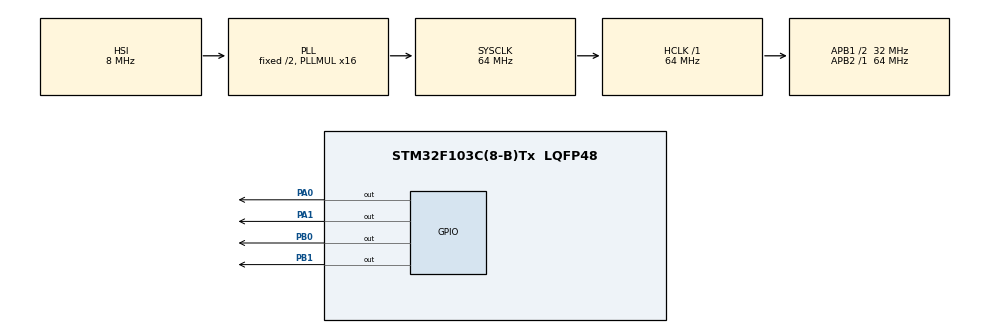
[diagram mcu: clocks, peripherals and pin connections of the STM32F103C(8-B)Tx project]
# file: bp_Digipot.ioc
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Mcu.Family=STM32F1
Mcu.Name=STM32F103C(8-B)Tx
Mcu.Package=LQFP48
NVIC.PriorityGroup=NVIC_PRIORITYGROUP_4
NVIC.TIM2_IRQn=true\:0\:0\:false\:false\:true\:true
PA0-WKUP.PinState=GPIO_PIN_SET
PA0-WKUP.Signal=GPIO_Output
PA1.Signal=GPIO_Output
PA13.Mode=Serial_Wire
PA13.Signal=SYS_JTMS-SWDIO
PA14.Mode=Serial_Wire
PA14.Signal=SYS_JTCK-SWCLK
PB0.PinState=GPIO_PIN_SET
PB0.Signal=GPIO_Output
PB1.Signal=GPIO_Output
ProjectManager.HeapSize=0x200
ProjectManager.StackSize=0x400
ProjectManager.TargetToolchain=TrueSTUDIO
RCC.AHBFreq_Value=64000000
RCC.APB1CLKDivider=RCC_HCLK_DIV2
RCC.APB1Freq_Value=32000000
RCC.APB1TimFreq_Value=64000000
RCC.APB2Freq_Value=64000000
RCC.APB2TimFreq_Value=64000000
RCC.HCLKFreq_Value=64000000
RCC.PLLMUL=RCC_PLL_MUL16
RCC.SYSCLKFreq_VALUE=64000000
RCC.SYSCLKSource=RCC_SYSCLKSOURCE_PLLCLK
RCC.USBFreq_Value=64000000
TIM2.Period=9
TIM2.Prescaler=31
VP_TIM2_VS_ClockSourceINT.Mode=Internal
board=custom

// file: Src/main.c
/* USER CODE BEGIN Header */
/**
  ******************************************************************************
  * @file           : main.c
  * @brief          : Main program body
  ******************************************************************************
  ** This notice applies to any and all portions of this file
  * that are not between comment pairs USER CODE BEGIN and
  * USER CODE END. Other portions of this file, whether
  * inserted by the user or by software development tools
  * are owned by their respective copyright owners.
  *
  * COPYRIGHT(c) 2019 STMicroelectronics
  *
  * Redistribution and use in source and binary forms, with or without modification,
  * are permitted provided that the following conditions are met:
  *   1. Redistributions of source code must retain the above copyright notice,
  *      this list of conditions and the following disclaimer.
  *   2. Redistributions in binary form must reproduce the above copyright notice,
  *      this list of conditions and the following disclaimer in the documentation
  *      and/or other materials provided with the distribution.
  *   3. Neither the name of STMicroelectronics nor the names of its contributors
  *      may be used to endorse or promote products derived from this software
  *      without specific prior written permission.
  *
  * THIS SOFTWARE IS PROVIDED BY THE COPYRIGHT HOLDERS AND CONTRIBUTORS "AS IS"
  * AND ANY EXPRESS OR IMPLIED WARRANTIES, INCLUDING, BUT NOT LIMITED TO, THE
  * IMPLIED WARRANTIES OF MERCHANTABILITY AND FITNESS FOR A PARTICULAR PURPOSE ARE
  * DISCLAIMED. IN NO EVENT SHALL THE COPYRIGHT HOLDER OR CONTRIBUTORS BE LIABLE
  * FOR ANY DIRECT, INDIRECT, INCIDENTAL, SPECIAL, EXEMPLARY, OR CONSEQUENTIAL
  * DAMAGES (INCLUDING, BUT NOT LIMITED TO, PROCUREMENT OF SUBSTITUTE GOODS OR
  * SERVICES; LOSS OF USE, DATA, OR PROFITS; OR BUSINESS INTERRUPTION) HOWEVER
  * CAUSED AND ON ANY THEORY OF LIABILITY, WHETHER IN CONTRACT, STRICT LIABILITY,
  * OR TORT (INCLUDING NEGLIGENCE OR OTHERWISE) ARISING IN ANY WAY OUT OF THE USE
  * OF THIS SOFTWARE, EVEN IF ADVISED OF THE POSSIBILITY OF SUCH DAMAGE.
  *
  ******************************************************************************
  */
/* USER CODE END Header */

#include "main.h"

TIM_HandleTypeDef htim2;

/* USER CODE BEGIN PV */
uint8_t cuenta = 0;
int steps = 0;
/* USER CODE END PV */

void SystemClock_Config(void);
static void MX_GPIO_Init(void);
static void MX_TIM2_Init(void);
/* USER CODE BEGIN PFP */
void init_resistencia();
void resistencia(uint8_t valor);
/* USER CODE END PFP */

int main(void)
{

  /* MCU Configuration--------------------------------------------------------*/

  /* Reset of all peripherals, Initializes the Flash interface and the Systick. */
  HAL_Init();

  /* Configure the system clock */
  SystemClock_Config();

  /* Initialize all configured peripherals */
  MX_GPIO_Init();
  MX_TIM2_Init();
  /* USER CODE BEGIN 2 */
  init_resistencia();
  HAL_Delay(2000);
  resistencia(47);
//  HAL_Delay(5000);
//  resistencia(100);
//  HAL_Delay(5000);
//  resistencia(20);
//  HAL_Delay(5000);
//  resistencia(100);
//  HAL_GPIO_WritePin(GPIOA,GPIO_PIN_1, 1);
  /* USER CODE END 2 */

  /* Infinite loop */
  /* USER CODE BEGIN WHILE */
  while (1)
  {
//	  HAL_GPIO_TogglePin(GPIOA, GPIO_PIN_0);
//	  HAL_Delay(1);
    /* USER CODE END WHILE */

  }
}

void SystemClock_Config(void)
{
  RCC_OscInitTypeDef RCC_OscInitStruct = {0};
  RCC_ClkInitTypeDef RCC_ClkInitStruct = {0};

  /**Initializes the CPU, AHB and APB busses clocks
  */
  RCC_OscInitStruct.OscillatorType = RCC_OSCILLATORTYPE_HSI;
  RCC_OscInitStruct.HSIState = RCC_HSI_ON;
  RCC_OscInitStruct.HSICalibrationValue = RCC_HSICALIBRATION_DEFAULT;
  RCC_OscInitStruct.PLL.PLLState = RCC_PLL_ON;
  RCC_OscInitStruct.PLL.PLLSource = RCC_PLLSOURCE_HSI_DIV2;
  RCC_OscInitStruct.PLL.PLLMUL = RCC_PLL_MUL16;
  if (HAL_RCC_OscConfig(&RCC_OscInitStruct) != HAL_OK)
  {
    Error_Handler();
  }
  /**Initializes the CPU, AHB and APB busses clocks
  */
  RCC_ClkInitStruct.ClockType = RCC_CLOCKTYPE_HCLK|RCC_CLOCKTYPE_SYSCLK
                              |RCC_CLOCKTYPE_PCLK1|RCC_CLOCKTYPE_PCLK2;
  RCC_ClkInitStruct.SYSCLKSource = RCC_SYSCLKSOURCE_PLLCLK;
  RCC_ClkInitStruct.AHBCLKDivider = RCC_SYSCLK_DIV1;
  RCC_ClkInitStruct.APB1CLKDivider = RCC_HCLK_DIV2;
  RCC_ClkInitStruct.APB2CLKDivider = RCC_HCLK_DIV1;

  if (HAL_RCC_ClockConfig(&RCC_ClkInitStruct, FLASH_LATENCY_2) != HAL_OK)
  {
    Error_Handler();
  }
}

static void MX_TIM2_Init(void)
{

  TIM_ClockConfigTypeDef sClockSourceConfig = {0};
  TIM_MasterConfigTypeDef sMasterConfig = {0};

  htim2.Instance = TIM2;
  htim2.Init.Prescaler = 31;
  htim2.Init.CounterMode = TIM_COUNTERMODE_UP;
  htim2.Init.Period = 9;
  htim2.Init.ClockDivision = TIM_CLOCKDIVISION_DIV1;
  htim2.Init.AutoReloadPreload = TIM_AUTORELOAD_PRELOAD_DISABLE;
  if (HAL_TIM_Base_Init(&htim2) != HAL_OK)
  {
    Error_Handler();
  }
  sClockSourceConfig.ClockSource = TIM_CLOCKSOURCE_INTERNAL;
  if (HAL_TIM_ConfigClockSource(&htim2, &sClockSourceConfig) != HAL_OK)
  {
    Error_Handler();
  }
  sMasterConfig.MasterOutputTrigger = TIM_TRGO_RESET;
  sMasterConfig.MasterSlaveMode = TIM_MASTERSLAVEMODE_DISABLE;
  if (HAL_TIMEx_MasterConfigSynchronization(&htim2, &sMasterConfig) != HAL_OK)
  {
    Error_Handler();
  }

}

static void MX_GPIO_Init(void)
{
  GPIO_InitTypeDef GPIO_InitStruct = {0};

  /* GPIO Ports Clock Enable */
  __HAL_RCC_GPIOA_CLK_ENABLE();
  __HAL_RCC_GPIOB_CLK_ENABLE();

  /*Configure GPIO pin Output Level */
  HAL_GPIO_WritePin(GPIOA, GPIO_PIN_0, GPIO_PIN_SET);

  /*Configure GPIO pin Output Level */
  HAL_GPIO_WritePin(GPIOA, GPIO_PIN_1, GPIO_PIN_RESET);

  /*Configure GPIO pin Output Level */
  HAL_GPIO_WritePin(GPIOB, GPIO_PIN_0, GPIO_PIN_SET);

  /*Configure GPIO pin Output Level */
  HAL_GPIO_WritePin(GPIOB, GPIO_PIN_1, GPIO_PIN_RESET);

  /*Configure GPIO pins : PA0 PA1 */
  GPIO_InitStruct.Pin = GPIO_PIN_0|GPIO_PIN_1;
  GPIO_InitStruct.Mode = GPIO_MODE_OUTPUT_PP;
  GPIO_InitStruct.Pull = GPIO_NOPULL;
  GPIO_InitStruct.Speed = GPIO_SPEED_FREQ_LOW;
  HAL_GPIO_Init(GPIOA, &GPIO_InitStruct);

  /*Configure GPIO pins : PB0 PB1 */
  GPIO_InitStruct.Pin = GPIO_PIN_0|GPIO_PIN_1;
  GPIO_InitStruct.Mode = GPIO_MODE_OUTPUT_PP;
  GPIO_InitStruct.Pull = GPIO_NOPULL;
  GPIO_InitStruct.Speed = GPIO_SPEED_FREQ_LOW;
  HAL_GPIO_Init(GPIOB, &GPIO_InitStruct);

}

/* USER CODE BEGIN 4 */
void init_resistencia(){
	steps = 200;
	HAL_GPIO_WritePin(GPIOB,GPIO_PIN_1, 0);
	HAL_TIM_Base_Start_IT(&htim2);
}

void resistencia(uint8_t valor){
	static int resist = 0;
	steps = 2*(valor - resist);

	if (steps < 0){
		HAL_GPIO_WritePin(GPIOB,GPIO_PIN_1, 0);
		steps = -steps;
	}
	else {
		HAL_GPIO_WritePin(GPIOB,GPIO_PIN_1, 1);
	}
	 HAL_TIM_Base_Start_IT(&htim2);
	 resist = valor;

}
void HAL_TIM_PeriodElapsedCallback(TIM_HandleTypeDef *htim){
	if (htim == &htim2){
		HAL_GPIO_TogglePin(GPIOB, GPIO_PIN_0);
		cuenta++;
		if (cuenta >= steps){
			cuenta = 0;
			HAL_TIM_Base_Stop_IT(&htim2);

		}
	}
}
/* USER CODE END 4 */

void Error_Handler(void)
{
}

/************************ (C) COPYRIGHT STMicroelectronics *****END OF FILE****/
